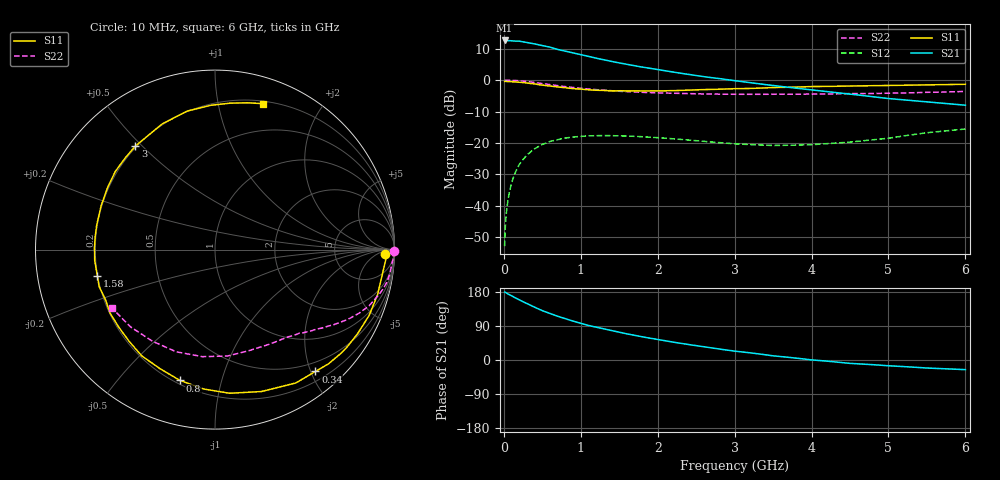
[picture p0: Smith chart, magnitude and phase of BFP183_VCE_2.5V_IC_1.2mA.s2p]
! Infineon Technologies  Discrete & RF Semiconductors
! BFP183
! VCE = 2.5 V,  IC =  1.2 mA
! Common Emitter S-Parameters:  Jan 2016
# GHz  S  MA  R  50
!  f  S11  S21  S12  S22
! GHz  MAG  ANG  MAG  ANG  MAG  ANG  MAG  ANG
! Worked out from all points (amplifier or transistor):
!   210 points, 10 MHz to 6 GHz, reference 50 ohm
!   highest |S21| = 12.6 dB at 10 MHz (marker M1)
!   |S21| within 3 dB of that: start of sweep to 726.6 MHz
!   unconditionally stable (mu >= 1): 2.39 GHz to end of sweep
!   at 185 MHz: K = 0.08, MSG = 19.9 dB, |S12| = -27.5 dB
!   at 1.52 GHz: K = 0.61, MSG = 11.5 dB, |S12| = -17.7 dB
!   at 6 GHz: K = 1.03, MAG = 2.7 dB, |S12| = -15.6 dB
!   S11 on the Smith chart (normalised r, x): 10 MHz: 31, -16; 340 MHz: 0.34, -2.07; 800 MHz: 0.22, -0.74; 1.58 GHz: 0.20, -0.11; 3 GHz: 0.19, +0.48; 6 GHz: 0.22, +1.35
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0.01  0.9497 -1.5  4.248 179.2  0.0023 90.0  0.9994 -0.5
0.02  0.9537 -3.2  4.245 178.6  0.0049 87.8  0.9912 -1.1
0.035  0.9481 -5.4  4.24 176.7  0.0082 86.9  0.9927 -1.9
0.065  0.941 -10.0  4.223 173.1  0.0149 84.0  0.9918 -3.5
0.095  0.9396 -14.7  4.2 169.9  0.0217 81.3  0.9874 -5.2
0.2  0.9224 -30.6  4.14 158.7  0.0454 72.0  0.9744 -10.8
0.34  0.8799 -50.5  3.854 145.2  0.0709 60.2  0.9324 -17.3
0.4  0.8688 -58.8  3.749 139.1  0.081 56.0  0.9147 -19.9
0.5  0.832 -71.9  3.528 130.2  0.0948 48.4  0.8788 -23.7
0.6  0.8045 -84.2  3.325 122.6  0.1058 42.5  0.8447 -26.9
0.8  0.7545 -105.0  2.878 108.6  0.1199 32.0  0.7851 -32.1
1.02  0.7139 -126.3  2.49 95.6  0.1279 22.7  0.734 -36.7
1.3  0.6834 -148.8  2.094 81.8  0.1314 13.7  0.6886 -41.6
1.58  0.672 -167.3  1.787 69.7  0.1294 7.2  0.6568 -45.8
2.02  0.6729 167.4  1.447 53.4  0.1212 0.7  0.6242 -52.9
2.58  0.7037 142.7  1.139 35.4  0.1066 -2.5  0.6012 -63.3
3  0.7279 127.5  0.977 23.4  0.0969 -1.2  0.5937 -72.1
3.1  0.7303 124.5  0.942 21.3  0.0957 0.1  0.5925 -74.3
3.5  0.7599 112.7  0.818 11.0  0.0913 5.4  0.5969 -83.3
4.1  0.7888 99.3  0.676 -1.3  0.0957 15.5  0.5994 -99.5
5.1  0.823 82.7  0.496 -16.3  0.1242 26.2  0.6195 -127.1
6  0.8555 71.9  0.398 -25.4  0.1668 22.4  0.6597 -150.5
